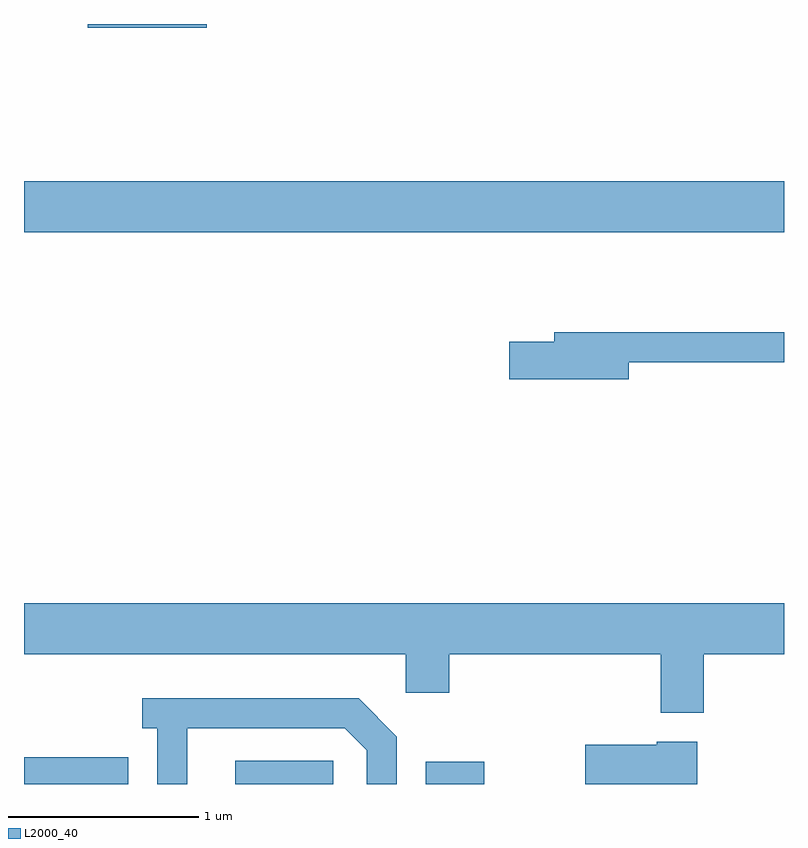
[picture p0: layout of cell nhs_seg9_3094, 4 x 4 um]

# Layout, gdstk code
import gdstk
lib = gdstk.Library(unit=1e-6, precision=1e-09)
def R(c, l, rs):  # rectangles x0, y0, x1, y1
    for r in rs: c.add(gdstk.rectangle(r[:2], r[2:], *l))
def P(c, l, *ps):  # polygons
    for p in ps: c.add(gdstk.Polygon(p, *l))
L2000_40 = (2000, 40)

nhs_seg9_3094 = lib.new_cell('nhs_seg9_3094')
R(nhs_seg9_3094, L2000_40, [(275.611,2024.432,276.159,2024.574), (276.723,2024.432,277.239,2024.554), (277.726,2024.432,278.034,2024.549), (275.611,2027.336,279.611,2027.604), (275.946,2028.411,276.574,2028.432)])
P(nhs_seg9_3094, L2000_40, [(278.794,2026.651),(279.611,2026.651),(279.611,2026.809),(278.401,2026.809),(278.401,2026.759),(278.166,2026.759),(278.166,2026.561),(278.794,2026.561)],
  [(279.189,2025.116),(279.611,2025.116),(279.611,2025.384),(275.611,2025.384),(275.611,2025.116),(277.621,2025.116),(277.621,2024.911),(277.849,2024.911),(277.849,2025.116),(278.961,2025.116),(278.961,2024.806),(279.189,2024.806)],
  [(276.469,2024.726),(277.299,2024.726),(277.416,2024.609),(277.416,2024.432),(277.574,2024.432),(277.574,2024.682),(277.372,2024.884),(276.233,2024.884),(276.233,2024.726),(276.311,2024.726),(276.311,2024.432),(276.469,2024.432)],
  [(279.154,2024.654),(278.94,2024.654),(278.94,2024.639),(278.566,2024.639),(278.566,2024.432),(279.154,2024.432)])

lib.write_gds('nhs_seg9_3094.gds')
